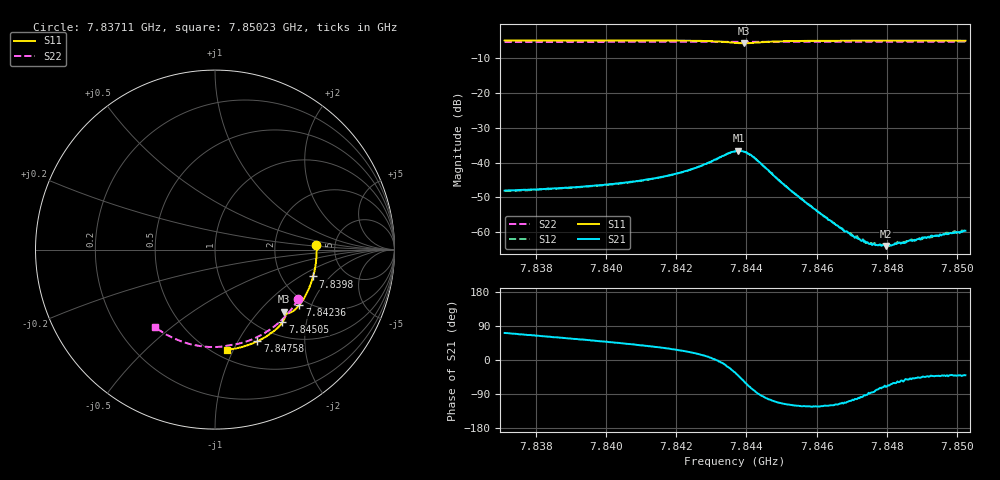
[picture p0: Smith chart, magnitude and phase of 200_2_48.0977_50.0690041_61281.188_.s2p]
#  HZ  S  RI  R  50.00
! Rohde & Schwarz Vector Network Analyzer
! Rohde-Schwarz,ZNB20-2Port,1311601062101988,3.16
! Created: UTC 12/23/2023, 3:54:40 AM
! freq[Hz]  re:S11  im:S11  re:S21  im:S21  re:S12  im:S12  re:S22  im:S22
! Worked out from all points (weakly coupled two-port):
!   401 points, 7.83711 GHz to 7.85023 GHz, reference 50 ohm
!   highest |S21| = -36.60 dB at 7.84377 GHz (marker M1); lowest = -63.9 dB at 7.84797 GHz (marker M2)
!   lowest |S11| = -5.7 dB at 7.84394 GHz (marker M3), VSWR 3.13, Z = 73.3 - j69.1 ohm
!   |S11| at or under -10 dB: nowhere
!   |S22| runs from -5.4 to -5.3 dB; largest |S21 - S12| = 0.00031
!   S11 on the Smith chart (normalised r, x): 7.83711 GHz: 3.58, +0.30; 7.8398 GHz: 2.98, -1.31; 7.84236 GHz: 1.82, -1.64; 7.84505 GHz: 1.25, -1.46; 7.84758 GHz: 0.81, -1.21; 7.85023 GHz: 0.58, -0.94
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7.837115e9  0.5654 0.0284  0.00126 0.00375  0.00127 0.00372  0.463 -0.2769
7.839312e9  0.5548 -0.1172  0.00264 0.00367  0.00261 0.00362  0.367 -0.3967
7.839804e9  0.5468 -0.1494  0.00305 0.0036  0.00301 0.00356  0.341 -0.4193
7.840886e9  0.5223 -0.2187  0.00418 0.00349  0.0041 0.00351  0.2791 -0.4632
7.841509e9  0.5035 -0.2576  0.00512 0.00339  0.00506 0.00336  0.2408 -0.4845
7.842362e9  0.4697 -0.3091  0.00728 0.00283  0.00724 0.00283  0.1858 -0.5083
7.843181e9  0.4213 -0.3506  0.0114 -0.000277  0.0115 -0.000244  0.1305 -0.5247
7.843673e9  0.3869 -0.3532  0.0121 -0.00779  0.0122 -0.00796  0.0976 -0.5302
7.843772e9  0.3836 -0.3501  0.0111 -0.00982  0.011 -0.00976  0.0912 -0.5311
7.843936e9  0.3829 -0.3461  0.0078 -0.012  0.00787 -0.012  0.0812 -0.5329
7.844231e9  0.3903 -0.3516  0.00179 -0.0116  0.00178 -0.0115  0.062 -0.5364
7.845051e9  0.3757 -0.4054  -0.00211 -0.00445  -0.0021 -0.00447  0.00486 -0.5426
7.845871e9  0.3351 -0.4486  -0.00125 -0.00191  -0.0012 -0.00194  -0.0529 -0.541
7.846822e9  0.2814 -0.4867  -0.000401 -0.00094  -0.000374 -0.000975  -0.119 -0.531
7.847215e9  0.2582 -0.4999  -0.000151 -0.000786  -0.000147 -0.000777  -0.1459 -0.5244
7.847445e9  0.2444 -0.5068  -1.8e-05 -0.00072  -5.82e-06 -0.0007  -0.1614 -0.5201
7.847576e9  0.2365 -0.5107  5.32e-05 -0.000653  6.11e-05 -0.000679  -0.1702 -0.5173
7.847773e9  0.2245 -0.5162  0.000165 -0.000641  0.000181 -0.000627  -0.1834 -0.5131
7.847969e9  0.2122 -0.5215  0.000208 -0.000604  0.000229 -0.00063  -0.1965 -0.5082
7.848068e9  0.2061 -0.5239  0.000255 -0.000603  0.000284 -0.000565  -0.2029 -0.5058
7.84974e9  0.0987 -0.5539  0.000689 -0.000641  0.000744 -0.00064  -0.3066 -0.4515
7.850232e9  0.0664 -0.5585  0.000803 -0.000679  0.000786 -0.000677  -0.3347 -0.4316
